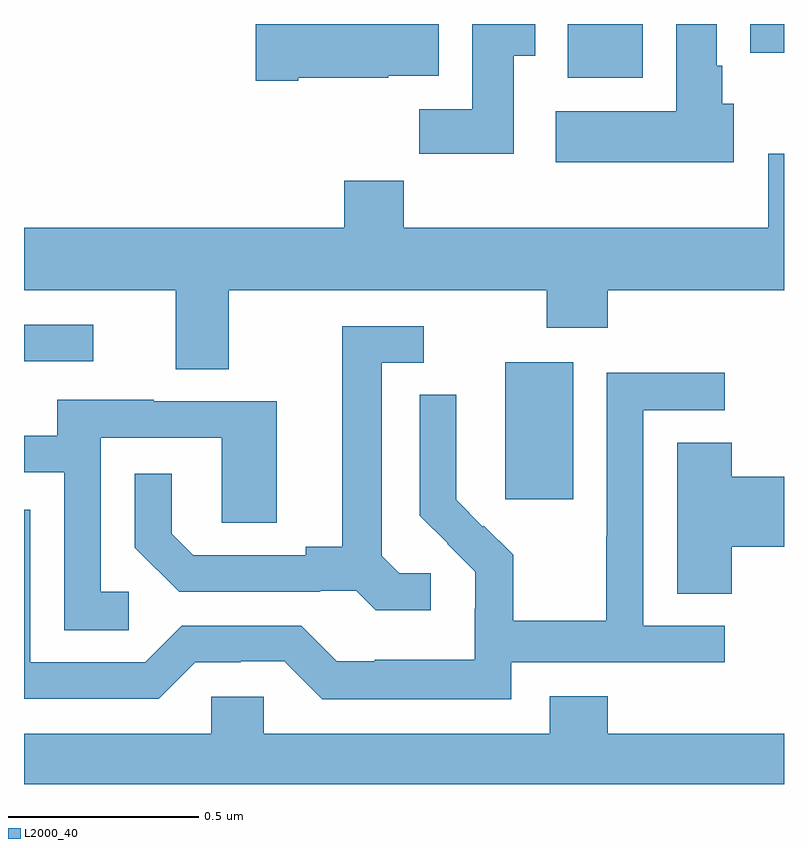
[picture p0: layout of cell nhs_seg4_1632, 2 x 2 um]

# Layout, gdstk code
import gdstk
lib = gdstk.Library(unit=1e-6, precision=1e-09)
def R(c, l, rs):  # rectangles x0, y0, x1, y1
    for r in rs: c.add(gdstk.rectangle(r[:2], r[2:], *l))
def P(c, l, *ps):  # polygons
    for p in ps: c.add(gdstk.Polygon(p, *l))
L2000_40 = (2000, 40)

nhs_seg4_1632 = lib.new_cell('nhs_seg4_1632')
R(nhs_seg4_1632, L2000_40, [(132.266,749.649,132.445,750.01), (131,750.012,131.182,750.108), (132.431,750.758,132.628,750.9), (132.911,750.824,133,750.9)])
P(nhs_seg4_1632, L2000_40, [(131.722,750.758),(131.958,750.758),(131.958,750.764),(132.091,750.764),(132.091,750.9),(131.61,750.9),(131.61,750.751),(131.722,750.751)],
  [(132.289,750.817),(132.346,750.817),(132.346,750.9),(132.179,750.9),(132.179,750.676),(132.04,750.676),(132.04,750.558),(132.289,750.558)],
  [(132.868,750.69),(132.838,750.69),(132.838,750.79),(132.823,750.79),(132.823,750.9),(132.716,750.9),(132.716,750.67),(132.399,750.67),(132.399,750.536),(132.868,750.536)],
  [(131.539,750.2),(132.376,750.2),(132.376,750.101),(132.536,750.101),(132.536,750.2),(133,750.2),(133,750.559),(132.959,750.559),(132.959,750.364),(131.999,750.364),(131.999,750.488),(131.843,750.488),(131.843,750.364),(131,750.364),(131,750.2),(131.399,750.2),(131.399,749.992),(131.539,749.992)],
  [(132.07,749.454),(131.988,749.454),(131.941,749.501),(131.941,750.009),(132.052,750.009),(132.052,750.105),(131.837,750.105),(131.837,749.525),(131.741,749.525),(131.741,749.502),(131.446,749.502),(131.389,749.559),(131.389,749.716),(131.292,749.716),(131.292,749.522),(131.408,749.406),(131.78,749.406),(131.78,749.409),(131.874,749.409),(131.926,749.357),(132.07,749.357)],
  [(132.282,749.22),(132.844,749.22),(132.844,749.316),(132.63,749.316),(132.63,749.883),(132.844,749.883),(132.844,749.982),(132.534,749.982),(132.534,749.552),(132.532,749.552),(132.532,749.329),(132.287,749.329),(132.287,749.503),(132.21,749.58),(132.207,749.577),(132.137,749.648),(132.137,749.77),(132.138,749.77),(132.138,749.924),(132.042,749.924),(132.042,749.606),(132.115,749.533),(132.114,749.532),(132.188,749.458),(132.188,749.361),(132.186,749.361),(132.186,749.227),(131.923,749.227),(131.923,749.223),(131.823,749.223),(131.73,749.316),(131.415,749.316),(131.319,749.22),(131.016,749.22),(131.016,749.622),(131,749.622),(131,749.124),(131.355,749.124),(131.451,749.22),(131.57,749.22),(131.57,749.223),(131.685,749.223),(131.785,749.123),(132.282,749.123)],
  [(131.275,749.406),(131.202,749.406),(131.202,749.811),(131.52,749.811),(131.52,749.587),(131.665,749.587),(131.665,749.907),(131.341,749.907),(131.341,749.911),(131.087,749.911),(131.087,749.817),(131,749.817),(131,749.721),(131.106,749.721),(131.106,749.305),(131.275,749.305)],
  [(132.863,749.525),(133,749.525),(133,749.708),(132.863,749.708),(132.863,749.798),(132.719,749.798),(132.719,749.401),(132.863,749.401)],
  [(133,749.032),(132.536,749.032),(132.536,749.131),(132.383,749.131),(132.383,749.032),(131.631,749.032),(131.631,749.13),(131.493,749.13),(131.493,749.032),(131,749.032),(131,748.9),(133,748.9)])

lib.write_gds('nhs_seg4_1632.gds')
